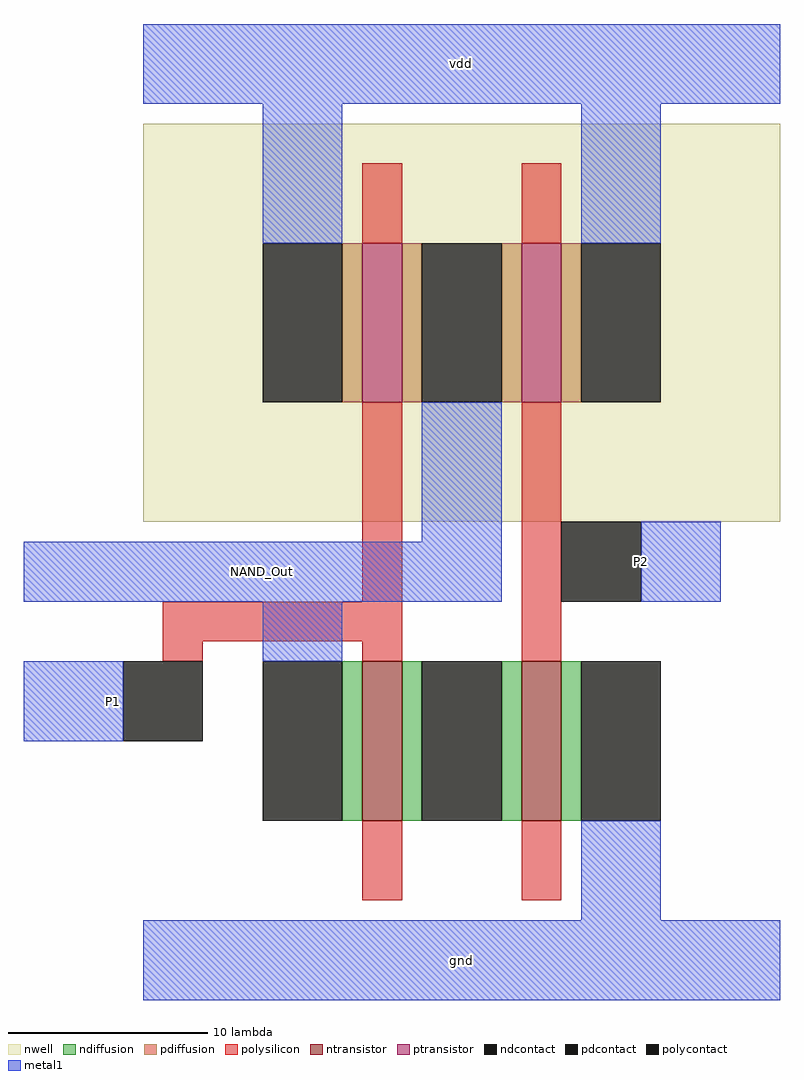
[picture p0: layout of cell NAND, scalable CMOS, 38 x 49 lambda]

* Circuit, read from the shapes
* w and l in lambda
.subckt NAND NAND_Out P1 P2 gnd vdd
M1 n1 P1 NAND_Out VSUBS nfet w=8 l=2
M2 gnd P2 n1 VSUBS nfet w=8 l=2
M3 NAND_Out P1 vdd n2 pfet w=8 l=2
M4 vdd P2 NAND_Out n2 pfet w=8 l=2
.ends

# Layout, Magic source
magic
tech scmos
<< nwell >>
rect -10 11 22 31
<< ntransistor >>
rect 1 -4 3 4
rect 9 -4 11 4
<< ptransistor >>
rect 1 17 3 25
rect 9 17 11 25
<< ndiffusion >>
rect 0 -4 1 4
rect 3 -4 4 4
rect 8 -4 9 4
rect 11 -4 12 4
<< pdiffusion >>
rect 0 17 1 25
rect 3 17 4 25
rect 8 17 9 25
rect 11 17 12 25
<< ndcontact >>
rect -4 -4 0 4
rect 4 -4 8 4
rect 12 -4 16 4
<< pdcontact >>
rect -4 17 0 25
rect 4 17 8 25
rect 12 17 16 25
<< polysilicon >>
rect 1 25 3 29
rect 9 25 11 29
rect 1 7 3 17
rect -9 5 3 7
rect -9 4 -7 5
rect 1 4 3 5
rect 9 4 11 17
rect 1 -8 3 -4
rect 9 -8 11 -4
<< polycontact >>
rect 11 7 15 11
rect -11 0 -7 4
<< metal1 >>
rect -10 32 22 36
rect -4 25 0 32
rect 12 25 16 32
rect 4 10 8 17
rect -16 7 8 10
rect 15 7 19 11
rect -4 4 0 7
rect -16 0 -11 4
rect 12 -9 16 -4
rect -10 -13 22 -9
<< labels >>
rlabel metal1 -10 32 22 36 5 vdd
rlabel metal1 -10 -13 22 -9 1 gnd
rlabel metal1 11 7 19 11 1 P2
rlabel metal1 -16 0 -7 4 3 P1
rlabel metal1 -16 7 8 10 1 NAND_Out
<< end >>
